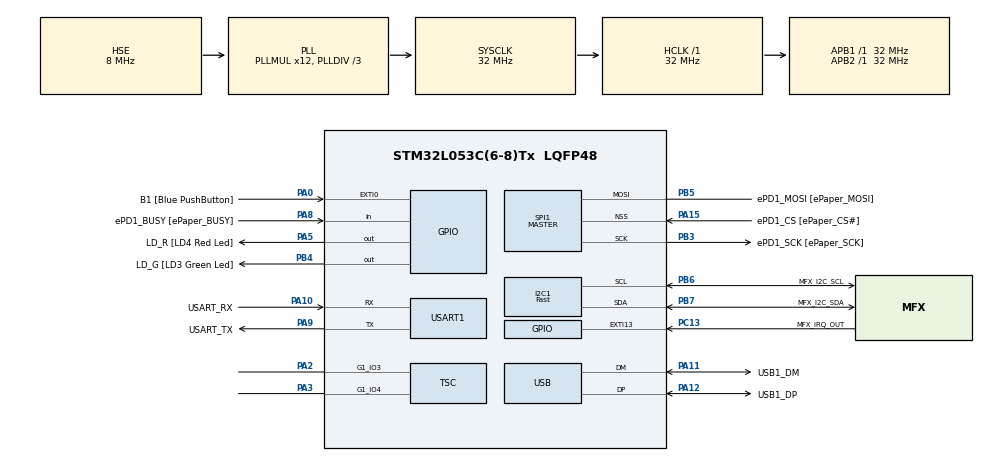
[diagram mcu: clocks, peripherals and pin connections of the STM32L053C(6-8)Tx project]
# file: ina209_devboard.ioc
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I2C1.I2C_Speed_Mode=I2C_Fast
I2C1.Timing=0x00300F38
Mcu.Family=STM32L0
Mcu.Name=STM32L053C(6-8)Tx
Mcu.Package=LQFP48
PA0.GPIO_Label=B1 [Blue PushButton]
PA0.GPIO_ModeDefaultEXTI=GPIO_MODE_EVT_RISING
PA0.GPIO_PuPd=GPIO_NOPULL
PA0.Signal=GPXTI0
PA10.GPIO_Label=USART_RX
PA10.Mode=Asynchronous
PA10.Signal=USART1_RX
PA11.GPIO_Label=USB1_DM
PA11.Mode=Device
PA11.Signal=USB_DM
PA12.GPIO_Label=USB1_DP
PA12.Mode=Device
PA12.Signal=USB_DP
PA13.GPIO_Label=SWDIO
PA13.Mode=Serial_Wire
PA13.Signal=SYS_SWDIO
PA14.GPIO_Label=SWCLK
PA14.Mode=Serial_Wire
PA14.Signal=SYS_SWCLK
PA15.GPIO_Label=ePD1_CS [ePaper_CS\#]
PA15.GPIO_Mode=GPIO_MODE_AF_PP
PA15.GPIO_PuPd=GPIO_NOPULL
PA15.GPIO_Speed=GPIO_SPEED_FREQ_LOW
PA15.Mode=NSS_Signal_Hard_Input
PA15.Signal=SPI1_NSS
PA2.Mode=G1_IO3-Channel
PA2.Signal=TSC_G1_IO3
PA3.Mode=G1_IO4-Sampling
PA3.Signal=TSC_G1_IO4
PA5.GPIO_Label=LD_R [LD4 Red Led]
PA5.GPIO_ModeDefaultOutputPP=GPIO_MODE_OUTPUT_PP
PA5.GPIO_PuPd=GPIO_NOPULL
PA5.GPIO_Speed=GPIO_SPEED_FREQ_LOW
PA5.Signal=GPIO_Output
PA8.GPIO_Label=ePD1_BUSY [ePaper_BUSY]
PA8.GPIO_Mode=GPIO_MODE_INPUT
PA8.GPIO_PuPd=GPIO_NOPULL
PA8.Signal=GPIO_Input
PA9.GPIO_Label=USART_TX
PA9.Mode=Asynchronous
PA9.Signal=USART1_TX
PB14.GPIO_Label=NFC_MISO
PB14.Signal=SPI2_MISO
PB15.GPIO_Label=NFC_MOSI
PB15.Signal=SPI2_MOSI
PB3.GPIO_Label=ePD1_SCK [ePaper_SCK]
PB3.GPIO_Mode=GPIO_MODE_AF_PP
PB3.GPIO_PuPd=GPIO_NOPULL
PB3.GPIO_Speed=GPIO_SPEED_FREQ_LOW
PB3.Mode=Simplex_Bidirectional_Master
PB3.Signal=SPI1_SCK
PB4.GPIO_Label=LD_G [LD3 Green Led]
PB4.GPIO_ModeDefaultOutputPP=GPIO_MODE_OUTPUT_PP
PB4.GPIO_PuPd=GPIO_NOPULL
PB4.GPIO_Speed=GPIO_SPEED_FREQ_LOW
PB4.Signal=GPIO_Output
PB5.GPIO_Label=ePD1_MOSI [ePaper_MOSI]
PB5.GPIO_Mode=GPIO_MODE_AF_PP
PB5.GPIO_PuPd=GPIO_NOPULL
PB5.GPIO_Speed=GPIO_SPEED_FREQ_LOW
PB5.Mode=Simplex_Bidirectional_Master
PB5.Signal=SPI1_MOSI
PB6.GPIO_Label=MFX_I2C_SCL
PB6.GPIO_Pu=GPIO_PULLUP
PB6.Mode=I2C
PB6.Signal=I2C1_SCL
PB7.GPIO_Label=MFX_I2C_SDA
PB7.GPIO_Pu=GPIO_PULLUP
PB7.Mode=I2C
PB7.Signal=I2C1_SDA
PC13.GPIO_Label=MFX_IRQ_OUT
PC13.Signal=GPXTI13
PC14-OSC32_IN.GPIO_Label=PC14-OSC32_IN
PC14-OSC32_IN.Signal=RCC_OSC32_IN
PC15-OSC32_OUT.GPIO_Label=PC15-OSC32_OUT
PC15-OSC32_OUT.Signal=RCC_OSC32_OUT
PH0-OSC_IN.GPIO_Label=MCO
PH0-OSC_IN.Mode=HSE-External-Clock-Source
PH0-OSC_IN.Signal=RCC_OSC_IN
ProjectManager.HeapSize=0x200
ProjectManager.StackSize=0x400
ProjectManager.TargetToolchain=STM32CubeIDE
RCC.AHBFreq_Value=32000000
RCC.APB1Freq_Value=32000000
RCC.APB1TimFreq_Value=32000000
RCC.APB2Freq_Value=32000000
RCC.APB2TimFreq_Value=32000000
RCC.HCLKFreq_Value=32000000
RCC.HSE_VALUE=8000000
RCC.HSI16_VALUE=16000000
RCC.HSI48MClockSelection=RCC_USBCLKSOURCE_HSI48
RCC.HSI48_VALUE=48000000
RCC.HSI_VALUE=16000000
RCC.LSE_VALUE=32768
RCC.MSI_VALUE=2097000
RCC.PLLDIV=RCC_PLLDIV_3
RCC.PLLMUL=RCC_PLLMUL_12
RCC.PLLSourceVirtual=RCC_PLLSOURCE_HSE
RCC.RTCClockSelectionVirtual=RCC_RTCCLKSOURCE_LSE
RCC.SYSCLKFreq_VALUE=32000000
RCC.SYSCLKSource=RCC_SYSCLKSOURCE_PLLCLK
RCC.VCOOutputFreq_Value=96000000
SPI1.CalculateBaudRate-Simplex_Bidirectional_Master=16.0 MBits/s
SPI1.Direction=SPI_DIRECTION_1LINE
SPI1.Direction-Simplex_Bidirectional_Master=SPI_DIRECTION_1LINE
SPI1.Mode=SPI_MODE_MASTER
SPI1.Mode-Simplex_Bidirectional_Master=SPI_MODE_MASTER
SPI1.NSS-Simplex_Bidirectional_Master=SPI_NSS_HARD_OUTPUT
SPI1.TIMode-Simplex_Bidirectional_Master=SPI_TIMODE_DISABLE
SPI1.VirtualNSS=VM_NSSHARD
SPI1.VirtualType=VM_MASTER
USART1.VirtualMode-Asynchronous=VM_ASYNC
board=STM32L0538-DISCO

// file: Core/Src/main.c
/* USER CODE BEGIN Header */
/**
  ******************************************************************************
  * @file           : main.c
  * @brief          : Main program body
  ******************************************************************************
  * @attention
  *
  * Copyright (c) 2022 STMicroelectronics.
  * All rights reserved.
  *
  * This software is licensed under terms that can be found in the LICENSE file
  * in the root directory of this software component.
  * If no LICENSE file comes with this software, it is provided AS-IS.
  *
  ******************************************************************************
  */
/* USER CODE END Header */
#include "main.h"

/* USER CODE BEGIN Includes */
#include "debug.h"
#include "command.h"
#include "ina209.h"
/* USER CODE END Includes */

 I2C_HandleTypeDef hi2c1;

SPI_HandleTypeDef hspi1;

TSC_HandleTypeDef htsc;

UART_HandleTypeDef huart1;

PCD_HandleTypeDef hpcd_USB_FS;

void SystemClock_Config(void);
static void MX_GPIO_Init(void);
static void MX_I2C1_Init(void);
static void MX_SPI1_Init(void);
static void MX_TSC_Init(void);
static void MX_USART1_UART_Init(void);
static void MX_USB_PCD_Init(void);

int main(void)
{

  /* MCU Configuration--------------------------------------------------------*/

  /* Reset of all peripherals, Initializes the Flash interface and the Systick. */
  HAL_Init();

  /* Configure the system clock */
  SystemClock_Config();

  /* Initialize all configured peripherals */
  MX_GPIO_Init();
  MX_I2C1_Init();
  MX_SPI1_Init();
  MX_TSC_Init();
  MX_USART1_UART_Init();
  MX_USB_PCD_Init();
  /* USER CODE BEGIN 2 */
  uint8_t state;

  char cmd[64];
  char buf[64];
  char *ptr = cmd;

  DBG_PUT("-----------------------------------\r\n");
  DBG_PUT("        INA209 Test Software        \r\n");
  DBG_PUT("-----------------------------------\r\n");
  init_ina209(INA209);

  /* USER CODE END 2 */

  /* Infinite loop */
  while (1)
  {

    /* USER CODE BEGIN 3 */
	  state = idle;
	  	  	   while (1)
	  	  	   {
	  	  		   switch (state){
	  	  			   case idle:
	  	  				   DBG_PUT("\r:>> ");
	  	  				   state = receiving;
	  	  				   break;
	  	  			   case receiving:;
	  	  				   HAL_StatusTypeDef rc = HAL_UART_Receive(&huart1, (uint8_t *) ptr, 1, 20000);
	  				   /* Build up the command one byte at a time */
	  				   if (rc != HAL_OK) {
	  					   if (rc != HAL_TIMEOUT) {
	  						   sprintf(buf, "UART read error: %x\r\n", rc);
	  						   DBG_PUT(buf);
	  					   }
	  					   continue;
	  				   }
	  				   /* Command is complete when we get EOL of some sort */
	  				   if (*ptr == '\n' || *ptr == '\r') {
	  					   *ptr = 0;
	  					   DBG_PUT("\r\n");
	  					   uart_handle_command(cmd);
	  					   ptr = cmd;
	  					   state = idle;

	  				   }
	  				   else {
	  					   *(ptr + 1) = 0;
	  					   DBG_PUT(ptr);

	  					   if (*ptr == 0x7f) { // handle backspace
	  						   if (ptr > cmd)
	  							   --ptr;
	  					   }
	  					   else
	  						   ++ptr;
	  				   }
	  				   break;
	  			   }

	  		   }
    /* USER CODE BEGIN 3 */
  }
  /* USER CODE END 3 */
}

void SystemClock_Config(void)
{
  RCC_OscInitTypeDef RCC_OscInitStruct = {0};
  RCC_ClkInitTypeDef RCC_ClkInitStruct = {0};
  RCC_PeriphCLKInitTypeDef PeriphClkInit = {0};

  /** Configure the main internal regulator output voltage
  */
  __HAL_PWR_VOLTAGESCALING_CONFIG(PWR_REGULATOR_VOLTAGE_SCALE1);

  /** Initializes the RCC Oscillators according to the specified parameters
  * in the RCC_OscInitTypeDef structure.
  */
  RCC_OscInitStruct.OscillatorType = RCC_OSCILLATORTYPE_HSE|RCC_OSCILLATORTYPE_HSI48;
  RCC_OscInitStruct.HSEState = RCC_HSE_BYPASS;
  RCC_OscInitStruct.HSI48State = RCC_HSI48_ON;
  RCC_OscInitStruct.PLL.PLLState = RCC_PLL_ON;
  RCC_OscInitStruct.PLL.PLLSource = RCC_PLLSOURCE_HSE;
  RCC_OscInitStruct.PLL.PLLMUL = RCC_PLLMUL_12;
  RCC_OscInitStruct.PLL.PLLDIV = RCC_PLLDIV_3;
  if (HAL_RCC_OscConfig(&RCC_OscInitStruct) != HAL_OK)
  {
    Error_Handler();
  }

  /** Initializes the CPU, AHB and APB buses clocks
  */
  RCC_ClkInitStruct.ClockType = RCC_CLOCKTYPE_HCLK|RCC_CLOCKTYPE_SYSCLK
                              |RCC_CLOCKTYPE_PCLK1|RCC_CLOCKTYPE_PCLK2;
  RCC_ClkInitStruct.SYSCLKSource = RCC_SYSCLKSOURCE_PLLCLK;
  RCC_ClkInitStruct.AHBCLKDivider = RCC_SYSCLK_DIV1;
  RCC_ClkInitStruct.APB1CLKDivider = RCC_HCLK_DIV1;
  RCC_ClkInitStruct.APB2CLKDivider = RCC_HCLK_DIV1;

  if (HAL_RCC_ClockConfig(&RCC_ClkInitStruct, FLASH_LATENCY_1) != HAL_OK)
  {
    Error_Handler();
  }
  PeriphClkInit.PeriphClockSelection = RCC_PERIPHCLK_USART1|RCC_PERIPHCLK_I2C1
                              |RCC_PERIPHCLK_USB;
  PeriphClkInit.Usart1ClockSelection = RCC_USART1CLKSOURCE_PCLK2;
  PeriphClkInit.I2c1ClockSelection = RCC_I2C1CLKSOURCE_PCLK1;
  PeriphClkInit.UsbClockSelection = RCC_USBCLKSOURCE_HSI48;
  if (HAL_RCCEx_PeriphCLKConfig(&PeriphClkInit) != HAL_OK)
  {
    Error_Handler();
  }
}

static void MX_I2C1_Init(void)
{

  hi2c1.Instance = I2C1;
  hi2c1.Init.Timing = 0x00300F38;
  hi2c1.Init.OwnAddress1 = 0;
  hi2c1.Init.AddressingMode = I2C_ADDRESSINGMODE_7BIT;
  hi2c1.Init.DualAddressMode = I2C_DUALADDRESS_DISABLE;
  hi2c1.Init.OwnAddress2 = 0;
  hi2c1.Init.OwnAddress2Masks = I2C_OA2_NOMASK;
  hi2c1.Init.GeneralCallMode = I2C_GENERALCALL_DISABLE;
  hi2c1.Init.NoStretchMode = I2C_NOSTRETCH_DISABLE;
  if (HAL_I2C_Init(&hi2c1) != HAL_OK)
  {
    Error_Handler();
  }

  /** Configure Analogue filter
  */
  if (HAL_I2CEx_ConfigAnalogFilter(&hi2c1, I2C_ANALOGFILTER_ENABLE) != HAL_OK)
  {
    Error_Handler();
  }

  /** Configure Digital filter
  */
  if (HAL_I2CEx_ConfigDigitalFilter(&hi2c1, 0) != HAL_OK)
  {
    Error_Handler();
  }

}

static void MX_SPI1_Init(void)
{

  /* SPI1 parameter configuration*/
  hspi1.Instance = SPI1;
  hspi1.Init.Mode = SPI_MODE_MASTER;
  hspi1.Init.Direction = SPI_DIRECTION_1LINE;
  hspi1.Init.DataSize = SPI_DATASIZE_8BIT;
  hspi1.Init.CLKPolarity = SPI_POLARITY_LOW;
  hspi1.Init.CLKPhase = SPI_PHASE_1EDGE;
  hspi1.Init.NSS = SPI_NSS_HARD_INPUT;
  hspi1.Init.BaudRatePrescaler = SPI_BAUDRATEPRESCALER_2;
  hspi1.Init.FirstBit = SPI_FIRSTBIT_MSB;
  hspi1.Init.TIMode = SPI_TIMODE_DISABLE;
  hspi1.Init.CRCCalculation = SPI_CRCCALCULATION_DISABLE;
  hspi1.Init.CRCPolynomial = 7;
  if (HAL_SPI_Init(&hspi1) != HAL_OK)
  {
    Error_Handler();
  }

}

static void MX_TSC_Init(void)
{

  /** Configure the TSC peripheral
  */
  htsc.Instance = TSC;
  htsc.Init.CTPulseHighLength = TSC_CTPH_2CYCLES;
  htsc.Init.CTPulseLowLength = TSC_CTPL_2CYCLES;
  htsc.Init.SpreadSpectrum = DISABLE;
  htsc.Init.SpreadSpectrumDeviation = 1;
  htsc.Init.SpreadSpectrumPrescaler = TSC_SS_PRESC_DIV1;
  htsc.Init.PulseGeneratorPrescaler = TSC_PG_PRESC_DIV4;
  htsc.Init.MaxCountValue = TSC_MCV_8191;
  htsc.Init.IODefaultMode = TSC_IODEF_OUT_PP_LOW;
  htsc.Init.SynchroPinPolarity = TSC_SYNC_POLARITY_FALLING;
  htsc.Init.AcquisitionMode = TSC_ACQ_MODE_NORMAL;
  htsc.Init.MaxCountInterrupt = DISABLE;
  htsc.Init.ChannelIOs = TSC_GROUP1_IO3;
  htsc.Init.ShieldIOs = 0;
  htsc.Init.SamplingIOs = TSC_GROUP1_IO4;
  if (HAL_TSC_Init(&htsc) != HAL_OK)
  {
    Error_Handler();
  }

}

static void MX_USART1_UART_Init(void)
{

  huart1.Instance = USART1;
  huart1.Init.BaudRate = 115200;
  huart1.Init.WordLength = UART_WORDLENGTH_8B;
  huart1.Init.StopBits = UART_STOPBITS_1;
  huart1.Init.Parity = UART_PARITY_NONE;
  huart1.Init.Mode = UART_MODE_TX_RX;
  huart1.Init.HwFlowCtl = UART_HWCONTROL_NONE;
  huart1.Init.OverSampling = UART_OVERSAMPLING_16;
  huart1.Init.OneBitSampling = UART_ONE_BIT_SAMPLE_DISABLE;
  huart1.AdvancedInit.AdvFeatureInit = UART_ADVFEATURE_NO_INIT;
  if (HAL_UART_Init(&huart1) != HAL_OK)
  {
    Error_Handler();
  }

}

static void MX_USB_PCD_Init(void)
{

  hpcd_USB_FS.Instance = USB;
  hpcd_USB_FS.Init.dev_endpoints = 8;
  hpcd_USB_FS.Init.speed = PCD_SPEED_FULL;
  hpcd_USB_FS.Init.phy_itface = PCD_PHY_EMBEDDED;
  hpcd_USB_FS.Init.low_power_enable = DISABLE;
  hpcd_USB_FS.Init.lpm_enable = DISABLE;
  hpcd_USB_FS.Init.battery_charging_enable = DISABLE;
  if (HAL_PCD_Init(&hpcd_USB_FS) != HAL_OK)
  {
    Error_Handler();
  }

}

static void MX_GPIO_Init(void)
{
  GPIO_InitTypeDef GPIO_InitStruct = {0};

  /* GPIO Ports Clock Enable */
  __HAL_RCC_GPIOC_CLK_ENABLE();
  __HAL_RCC_GPIOH_CLK_ENABLE();
  __HAL_RCC_GPIOA_CLK_ENABLE();
  __HAL_RCC_GPIOB_CLK_ENABLE();

  /*Configure GPIO pin Output Level */
  HAL_GPIO_WritePin(LD_R_GPIO_Port, LD_R_Pin, GPIO_PIN_RESET);

  /*Configure GPIO pin Output Level */
  HAL_GPIO_WritePin(LD_G_GPIO_Port, LD_G_Pin, GPIO_PIN_RESET);

  /*Configure GPIO pin : MFX_IRQ_OUT_Pin */
  GPIO_InitStruct.Pin = MFX_IRQ_OUT_Pin;
  GPIO_InitStruct.Mode = GPIO_MODE_IT_RISING;
  GPIO_InitStruct.Pull = GPIO_NOPULL;
  HAL_GPIO_Init(MFX_IRQ_OUT_GPIO_Port, &GPIO_InitStruct);

  /*Configure GPIO pin : B1_Pin */
  GPIO_InitStruct.Pin = B1_Pin;
  GPIO_InitStruct.Mode = GPIO_MODE_EVT_RISING;
  GPIO_InitStruct.Pull = GPIO_NOPULL;
  HAL_GPIO_Init(B1_GPIO_Port, &GPIO_InitStruct);

  /*Configure GPIO pin : LD_R_Pin */
  GPIO_InitStruct.Pin = LD_R_Pin;
  GPIO_InitStruct.Mode = GPIO_MODE_OUTPUT_PP;
  GPIO_InitStruct.Pull = GPIO_NOPULL;
  GPIO_InitStruct.Speed = GPIO_SPEED_FREQ_LOW;
  HAL_GPIO_Init(LD_R_GPIO_Port, &GPIO_InitStruct);

  /*Configure GPIO pins : NFC_MISO_Pin NFC_MOSI_Pin */
  GPIO_InitStruct.Pin = NFC_MISO_Pin|NFC_MOSI_Pin;
  GPIO_InitStruct.Mode = GPIO_MODE_AF_PP;
  GPIO_InitStruct.Pull = GPIO_NOPULL;
  GPIO_InitStruct.Speed = GPIO_SPEED_FREQ_VERY_HIGH;
  GPIO_InitStruct.Alternate = GPIO_AF0_SPI2;
  HAL_GPIO_Init(GPIOB, &GPIO_InitStruct);

  /*Configure GPIO pin : ePD1_BUSY_Pin */
  GPIO_InitStruct.Pin = ePD1_BUSY_Pin;
  GPIO_InitStruct.Mode = GPIO_MODE_INPUT;
  GPIO_InitStruct.Pull = GPIO_NOPULL;
  HAL_GPIO_Init(ePD1_BUSY_GPIO_Port, &GPIO_InitStruct);

  /*Configure GPIO pin : LD_G_Pin */
  GPIO_InitStruct.Pin = LD_G_Pin;
  GPIO_InitStruct.Mode = GPIO_MODE_OUTPUT_PP;
  GPIO_InitStruct.Pull = GPIO_NOPULL;
  GPIO_InitStruct.Speed = GPIO_SPEED_FREQ_LOW;
  HAL_GPIO_Init(LD_G_GPIO_Port, &GPIO_InitStruct);

}

void Error_Handler(void)
{
  __disable_irq();
  while (1)
  {
  }
}
